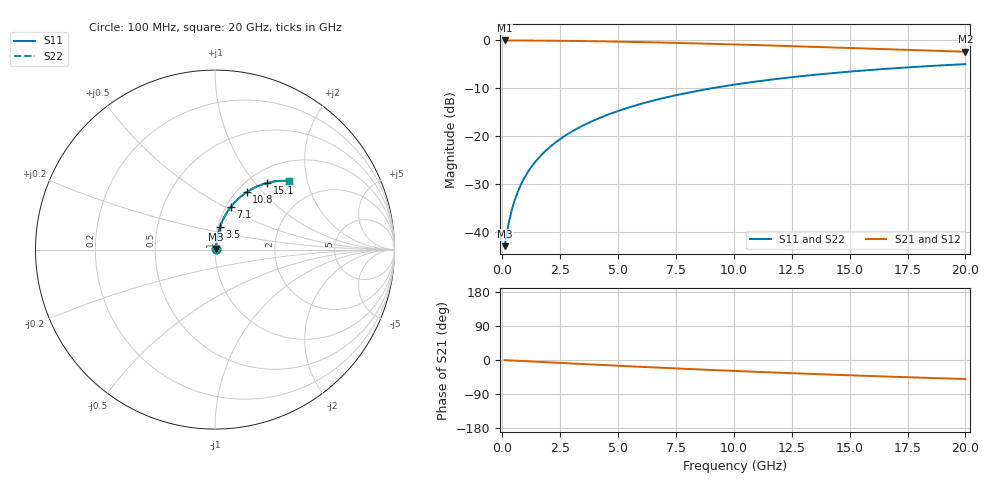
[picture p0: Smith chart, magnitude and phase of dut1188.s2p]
! Touchstone file exported from HFSS 2024.1.0
!  File:  C:/UserFiles/LocalFiles/RDL_TSV_Batchsim/temp_RDL_top_1188_1780049490.aedt
!  Generated:  06:13:40 PM May 29, 2026
!  Design:  RDL_top
!  Project:  temp_RDL_top_1188_1780049490
!  Setup:  Setup1
!  Solution:  Sweep
! Variables:
!  dtsv = 10.80580581um
!  hbump = 3um
!  htsv = 69.47um
!  ldown = 100um
!  lrdl = 628.6um
!  p = 40
!  p1 = 57.74um
!  rhole = 1um
!  t = 450um
!  tdown = 3.915915916um
!  trdl = 3.35um
!  wdown = 15.38538539um
!  wrdl = 11.25um
# GHz S MA R 50.000000
! Terminal data exported
! Port[1] = Box2_T1
! Port[2] = Box2_T2
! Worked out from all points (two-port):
!   200 points, 100 MHz to 20 GHz, reference 50 ohm
!   highest |S21| = -0.05 dB at 100 MHz (marker M1); lowest = -2.4 dB at 20 GHz (marker M2)
!   |S21| within 3 dB of the highest: start of sweep to end of sweep
!   lowest |S11| = -43.0 dB at 100 MHz (marker M3), VSWR 1.01, Z = 50.6 + j0.386 ohm
!   |S11| at or under -10 dB: start of sweep to 9.1 GHz
!   |S22| runs from -43.0 to -5.0 dB; largest |S21 - S12| = 3.6e-15
!   S11 on the Smith chart (normalised r, x): 100 MHz: 1.01, +0.01; 3.5 GHz: 1.02, +0.26; 7.1 GHz: 1.05, +0.53; 10.8 GHz: 1.11, +0.82; 15.1 GHz: 1.21, +1.16; 20 GHz: 1.39, +1.56
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0.1  0.00705 32.7  0.9941 -0.3  0.9941 -0.3  0.00705 32.7
! Gamma 0 0 0 0
! Port Impedance 50 0 50 0
0.3  0.01296 61.5  0.9939 -1.0  0.9939 -1.0  0.01296 61.5
0.4  0.01643 67.1  0.9937 -1.3  0.9937 -1.3  0.01643 67.1
0.5  0.01999 70.6  0.9935 -1.6  0.9935 -1.6  0.01999 70.6
0.6  0.02359 72.9  0.9933 -1.9  0.9933 -1.9  0.02359 72.9
0.8  0.03084 75.8  0.9928 -2.5  0.9928 -2.5  0.03084 75.8
1.1  0.04175 78.0  0.992 -3.4  0.992 -3.4  0.04175 78.0
1.5  0.05634 79.2  0.9908 -4.7  0.9908 -4.7  0.05634 79.2
2.1  0.07824 79.4  0.9883 -6.5  0.9883 -6.5  0.07824 79.4
2.7  0.1001 78.9  0.9851 -8.3  0.9851 -8.3  0.1001 78.9
3.5  0.129 77.6  0.9797 -10.8  0.9797 -10.8  0.129 77.6
4.2  0.154 76.3  0.9741 -12.8  0.9741 -12.8  0.154 76.3
5  0.1822 74.6  0.9667 -15.2  0.9667 -15.2  0.1821 74.6
6.8  0.2434 70.4  0.9467 -20.3  0.9467 -20.3  0.2434 70.4
7.1  0.2533 69.7  0.9431 -21.1  0.9431 -21.1  0.2532 69.7
8.5  0.2979 66.4  0.9248 -24.9  0.9248 -24.9  0.2979 66.4
10.1  0.3457 62.7  0.9023 -29.0  0.9023 -29.0  0.3457 62.7
10.8  0.3655 61.1  0.8921 -30.8  0.8921 -30.8  0.3655 61.1
13.4  0.4329 55.4  0.8532 -36.9  0.8532 -36.9  0.4329 55.5
15.1  0.4718 51.9  0.8277 -40.6  0.8277 -40.6  0.4718 51.9
16.7  0.5048 48.8  0.804 -43.9  0.804 -43.9  0.5048 48.8
20  0.5627 42.8  0.7574 -50.2  0.7574 -50.2  0.5627 42.9
